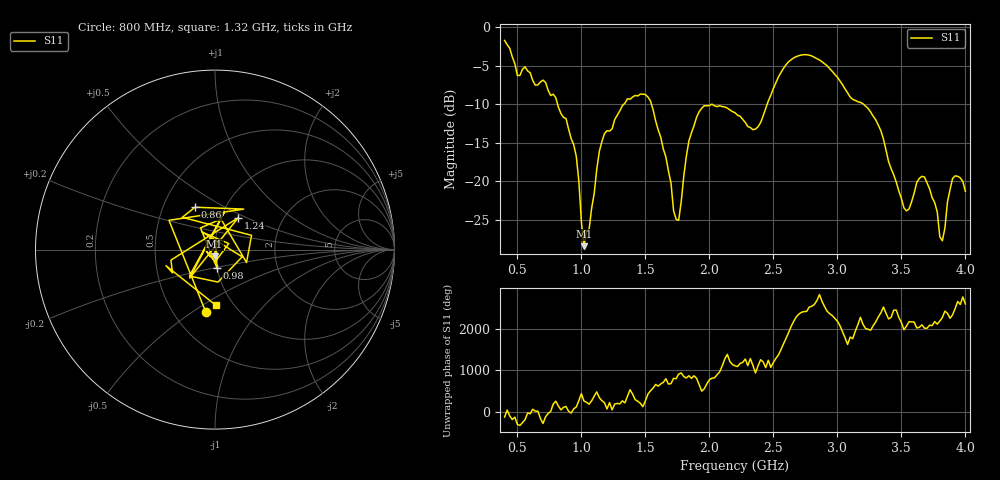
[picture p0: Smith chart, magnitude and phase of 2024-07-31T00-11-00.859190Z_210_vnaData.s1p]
!Created with skrf (http://scikit-rf.org).
# Hz S RI R 50.0
!freq ReS11 ImS11
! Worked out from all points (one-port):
!   181 points, 400 MHz to 4 GHz, reference 50 ohm
!   lowest |S11| = -28.4 dB at 1.02 GHz (marker M1), VSWR 1.08, Z = 49.6 - j3.77 ohm
!   |S11| at or under -10 dB: 814.3 MHz to 1.33 GHz (515.6 MHz wide, 48.1 % of centre); 1.548 GHz to 2.016 GHz (467.6 MHz wide, 26.2 % of centre); 3.206 GHz to end of sweep (the widest 3 of 4)
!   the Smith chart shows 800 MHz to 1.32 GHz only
!   S11 on the Smith chart (normalised r, x): 800 MHz: 0.72, -0.56; 860 MHz: 0.72, +0.37; 980 MHz: 1.00, -0.20; 1.24 GHz: 1.21, +0.45; 1.32 GHz: 0.83, -0.57
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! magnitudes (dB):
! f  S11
! 400 MHz  -1.7
! 500 MHz  -6.3
! 560 MHz  -5.1
! 800 MHz  -9.1
! 860 MHz  -11.7
! 940 MHz  -15.2
! 980 MHz  -19.9
! 1.02 GHz  -28.4
! 1.06 GHz  -26.2
! 1.14 GHz  -16.1
! 1.24 GHz  -13.2
! 1.3 GHz  -10.8
! 1.32 GHz  -10.2
! 1.54 GHz  -9.6
! 1.76 GHz  -25.0
! 1.84 GHz  -14.7
! 1.92 GHz  -10.9
! 2.2 GHz  -11.1
! 2.38 GHz  -12.9
! 2.66 GHz  -3.9
! 2.88 GHz  -4.5
! 3.1 GHz  -9.1
! 3.3 GHz  -12.0
! 3.56 GHz  -23.6
! 3.68 GHz  -19.4
! 3.82 GHz  -27.7
! 3.9 GHz  -19.6
! 4 GHz  -21.3
